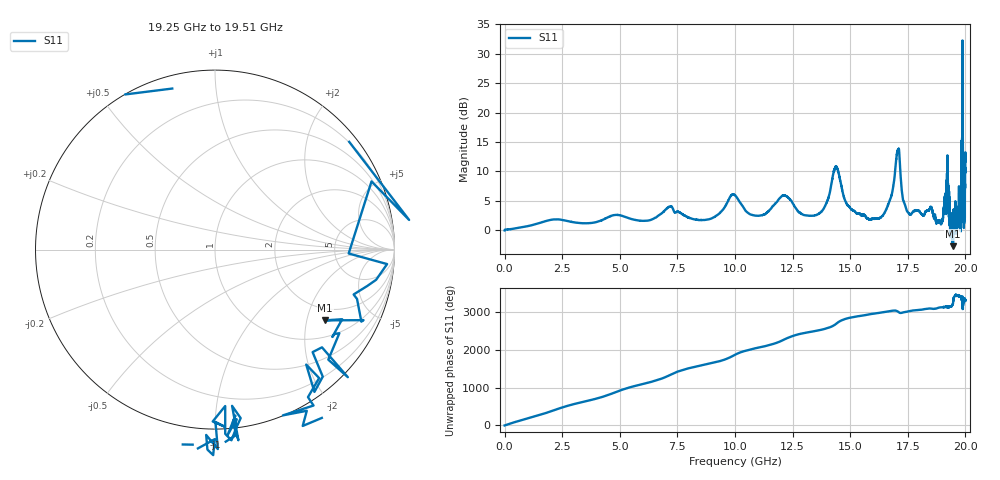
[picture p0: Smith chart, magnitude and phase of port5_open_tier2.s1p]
! Created with skrf 1.8.0 (http://scikit-rf.org).
# GHz S RI R 50.0
!freq ReS11 ImS11
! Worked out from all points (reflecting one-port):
!   10001 points, 1 MHz to 20 GHz, reference 50 ohm
!   lowest |S11| = -2.7 dB at 19.45 GHz (marker M1), VSWR 6.39, Z = 76.8 - j129 ohm
!   phase of S11 starts at 1 deg and turns +3329 deg over the sweep
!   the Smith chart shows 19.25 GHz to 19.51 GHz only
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0.001  0.9927 0.0132
1.516924  0.1636 -1.136
2.500875  -0.5688 1.079
3.348833  -0.2415 -1.118
4.072796  1.176 0.1341
5.00075  -1.211 -0.5671
5.880706  1.201 0.0241
6.944653  -1.422 -0.3377
7.500625  1.393 -0.3433
8.682566  -1.205 0.1799
9.460527  0.4415 -1.411
10.0005  0.5495 1.908
10.33848  -1.493 0.5567
10.94045  -0.359 -1.275
11.72841  1.611 0.4197
12.0784  -0.3712 1.921
12.50038  -1.478 -0.8411
13.80031  1.337 0.6118
14.22429  -0.9747 2.533
14.40228  -3.423 -0.0365
14.58027  -0.7454 -2.467
15.00025  1.424 -0.5886
17.00815  -3.823 1.594
17.14414  -1.267 3.968
17.50013  -1.117 0.8769
19.17004  0.306 -1.535
19.44803  0.6134 -0.3942
20  0.031 3.826
